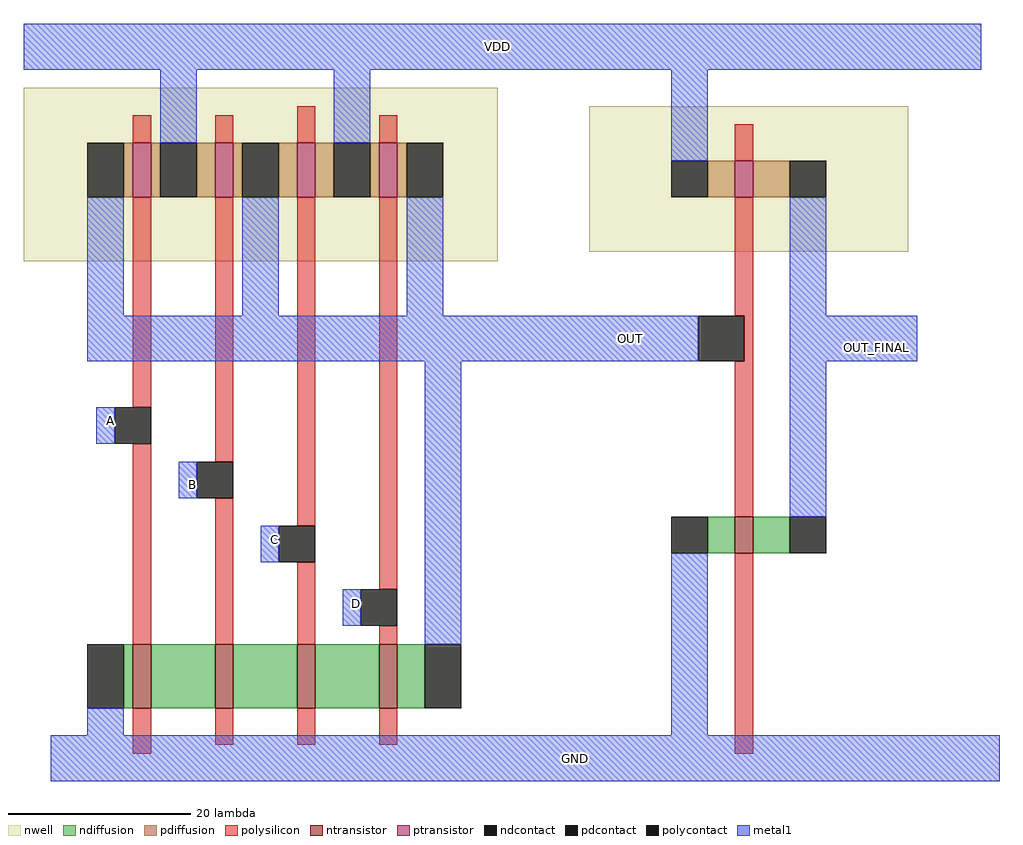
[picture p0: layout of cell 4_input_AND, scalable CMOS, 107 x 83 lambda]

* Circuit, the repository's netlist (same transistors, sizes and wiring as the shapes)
* SPICE3 file created from 4_input_AND.ext - technology: scmos
.include TSMC_180nm.txt


.param SUPPLY = 1.8


.global GND

Vdd VDD GND 'SUPPLY'

V_in_A A GND PULSE(0 1.8 0ns 100ps 100ps 20ns 40ns)
V_in_B B GND PULSE(0 1.8 0ns 100ps 100ps 40ns 60ns)
V_in_C C GND PULSE(0 1.8 0ns 100ps 100ps 40ns 80ns)
V_in_D D GND PULSE(0 1.8 0ns 100ps 100ps 40ns 100ns)
.option scale=0.09u

M1000 OUT B VDD VDD CMOSP w=6 l=2
+  ad=102 pd=70 as=112 ps=74
M1001 OUT_FINAL OUT GND Gnd CMOSN w=4 l=2
+  ad=32 pd=24 as=63 ps=46
M1002 a_10_n29# C a_1_n29# Gnd CMOSN w=7 l=2
+  ad=49 pd=28 as=49 ps=28
M1003 VDD A OUT VDD CMOSP w=6 l=2
+  ad=0 pd=0 as=0 ps=0
M1004 a_1_n29# B a_n8_n29# Gnd CMOSN w=7 l=2
+  ad=0 pd=0 as=49 ps=28
M1005 a_n8_n29# A GND Gnd CMOSN w=7 l=2
+  ad=0 pd=0 as=0 ps=0
M1006 VDD C OUT VDD CMOSP w=6 l=2
+  ad=0 pd=0 as=0 ps=0
M1007 OUT_FINAL OUT VDD VDD CMOSP w=4 l=2
+  ad=32 pd=24 as=0 ps=0
M1008 OUT D a_10_n29# Gnd CMOSN w=7 l=2
+  ad=49 pd=28 as=0 ps=0
M1009 OUT D VDD VDD CMOSP w=6 l=2
+  ad=0 pd=0 as=0 ps=0
.tran 1n 500n

.control
run
set color0 = rgb:f/f/e
set color1 = white
plot v(A) v(B)+2 v(C)+4 v(D)+6 v(OUT_FINAL)+8
* plot v(OUT_FINAL)/
* hardcopy image.ps v(node_a) v(node_b)+2 v(OUT)+4
.end
.endc

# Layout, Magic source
magic
tech scmos
<< nwell >>
rect -22 4 30 23
rect 40 5 75 21
<< ntransistor >>
rect 56 -28 58 -24
rect -10 -45 -8 -38
rect -1 -45 1 -38
rect 8 -45 10 -38
rect 17 -45 19 -38
<< ptransistor >>
rect -10 11 -8 17
rect -1 11 1 17
rect 8 11 10 17
rect 17 11 19 17
rect 56 11 58 15
<< ndiffusion >>
rect 53 -28 56 -24
rect 58 -28 62 -24
rect -11 -45 -10 -38
rect -8 -45 -1 -38
rect 1 -45 8 -38
rect 10 -45 17 -38
rect 19 -45 22 -38
<< pdiffusion >>
rect -11 11 -10 17
rect -8 11 -7 17
rect -3 11 -1 17
rect 1 11 2 17
rect 6 11 8 17
rect 10 11 12 17
rect 16 11 17 17
rect 19 11 20 17
rect 53 11 56 15
rect 58 11 62 15
<< ndcontact >>
rect 49 -28 53 -24
rect 62 -28 66 -24
rect -15 -45 -11 -38
rect 22 -45 26 -38
<< pdcontact >>
rect -15 11 -11 17
rect -7 11 -3 17
rect 2 11 6 17
rect 12 11 16 17
rect 20 11 24 17
rect 49 11 53 15
rect 62 11 66 15
<< polysilicon >>
rect -10 17 -8 20
rect -1 17 1 20
rect 8 17 10 21
rect 17 17 19 20
rect 56 15 58 19
rect -10 -12 -8 11
rect -10 -38 -8 -16
rect -1 -18 1 11
rect -1 -38 1 -22
rect 8 -25 10 11
rect 8 -38 10 -29
rect 17 -32 19 11
rect 56 -2 58 11
rect 57 -7 58 -2
rect 56 -24 58 -7
rect 17 -38 19 -36
rect -10 -50 -8 -45
rect -1 -49 1 -45
rect 8 -49 10 -45
rect 17 -49 19 -45
rect 56 -50 58 -28
<< polycontact >>
rect -12 -16 -8 -12
rect -3 -22 1 -18
rect 6 -29 10 -25
rect 52 -7 57 -2
rect 15 -36 19 -32
<< metal1 >>
rect -22 25 83 30
rect -7 17 -3 25
rect 12 17 16 25
rect 49 15 53 25
rect -15 -2 -11 11
rect 2 -2 6 11
rect 20 -2 24 11
rect 62 -2 66 11
rect -15 -7 52 -2
rect 62 -7 76 -2
rect -14 -16 -12 -12
rect -5 -22 -3 -18
rect 4 -29 6 -25
rect 13 -36 15 -32
rect 22 -38 26 -7
rect 62 -24 66 -7
rect -15 -48 -11 -45
rect 49 -48 53 -28
rect -19 -53 85 -48
<< labels >>
rlabel metal1 29 27 31 28 5 VDD
rlabel metal1 71 -6 72 -5 1 OUT_FINAL
rlabel metal1 44 -5 45 -4 1 OUT
rlabel metal1 14 -34 15 -33 1 D
rlabel metal1 5 -27 6 -26 1 C
rlabel metal1 -4 -21 -3 -20 1 B
rlabel metal1 -13 -14 -12 -13 1 A
rlabel metal1 38 -51 39 -50 1 GND
<< end >>
